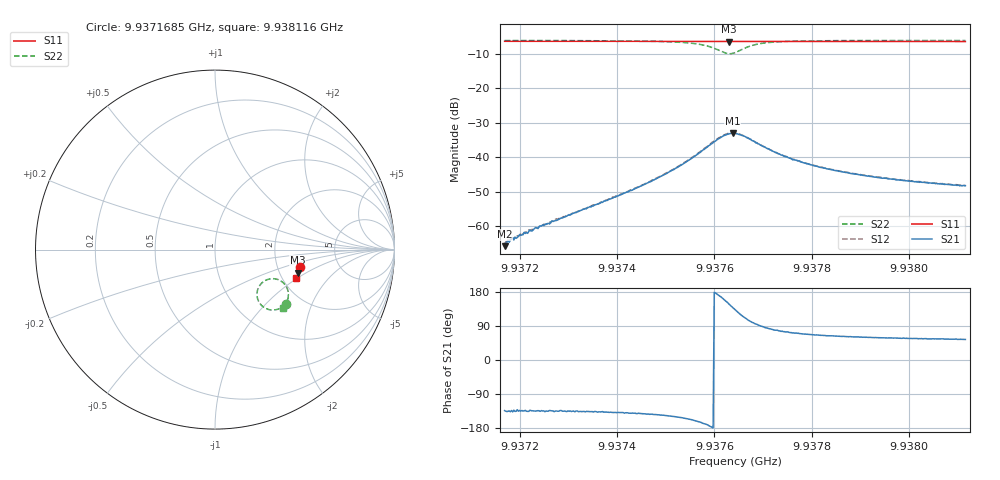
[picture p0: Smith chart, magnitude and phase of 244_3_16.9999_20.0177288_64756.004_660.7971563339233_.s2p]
#  HZ  S  RI  R  50.00
! Rohde & Schwarz Vector Network Analyzer
! Rohde-Schwarz,ZNB20-2Port,1311601062101988,3.16
! Created: UTC 3/20/2024, 11:03:01 PM
! freq[Hz]  re:S11  im:S11  re:S21  im:S21  re:S12  im:S12  re:S22  im:S22
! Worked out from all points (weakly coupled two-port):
!   401 points, 9.9371685 GHz to 9.938116 GHz, reference 50 ohm
!   highest |S21| = -32.97 dB at 9.9376375 GHz (marker M1); lowest = -65.8 dB at 9.9371685 GHz (marker M2)
!   lowest |S11| = -6.4 dB at 9.9376304 GHz (marker M3), VSWR 2.84, Z = 126 - j41.8 ohm
!   |S11| at or under -10 dB: nowhere
!   |S22| runs from -9.9 to -6.1 dB; largest |S21 - S12| = 0.00091
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9.93716852e9  0.4739 -0.0982  -0.000355 -0.000373  -0.000396 -0.000386  0.3957 -0.3016
9.93718036e9  0.4737 -0.099  -0.000458 -0.000434  -0.000487 -0.000434  0.3948 -0.3025
9.93719221e9  0.4735 -0.0999  -0.000475 -0.000471  -0.000498 -0.000501  0.3938 -0.3034
9.93720405e9  0.4733 -0.1006  -0.000516 -0.000549  -0.000535 -0.000523  0.393 -0.3042
9.93727037e9  0.472 -0.1052  -0.000864 -0.000824  -0.000831 -0.000862  0.3871 -0.3097
9.93732722e9  0.4707 -0.109  -0.00125 -0.00119  -0.00128 -0.00118  0.3809 -0.3149
9.9374267e9  0.4687 -0.1156  -0.00254 -0.00211  -0.00259 -0.00215  0.365 -0.3253
9.93748591e9  0.4672 -0.1197  -0.00421 -0.00297  -0.00432 -0.00291  0.3475 -0.3329
9.93753328e9  0.4661 -0.1231  -0.00697 -0.00364  -0.00715 -0.00359  0.3221 -0.3366
9.93758066e9  0.4642 -0.1261  -0.0131 -0.00259  -0.0135 -0.00233  0.272 -0.3214
9.93761145e9  0.4628 -0.1276  -0.0188 0.00394  -0.019 0.00451  0.2347 -0.262
9.9376304e9  0.4621 -0.1278  -0.0184 0.012  -0.0185 0.0128  0.2498 -0.1992
9.9376375e9  0.4621 -0.1278  -0.0168 0.0149  -0.0166 0.0155  0.2682 -0.1799
9.93764224e9  0.462 -0.128  -0.0152 0.0163  -0.0147 0.017  0.283 -0.1707
9.93765408e9  0.4626 -0.1284  -0.0104 0.0185  -0.00985 0.019  0.3229 -0.1619
9.93767066e9  0.4626 -0.1294  -0.00465 0.0183  -0.00411 0.0184  0.3668 -0.1746
9.93769909e9  0.4628 -0.1314  0.00046 0.0145  0.000955 0.0145  0.4006 -0.2123
9.93775593e9  0.4619 -0.1358  0.00294 0.00922  0.00295 0.00926  0.4085 -0.2599
9.93780094e9  0.4611 -0.1391  0.00302 0.00708  0.00316 0.00712  0.4046 -0.2789
9.93788147e9  0.4589 -0.1444  0.0028 0.00511  0.00296 0.00514  0.3961 -0.2978
9.93795963e9  0.457 -0.1496  0.00257 0.00416  0.00266 0.00414  0.3891 -0.3089
9.93811596e9  0.4529 -0.1597  0.00227 0.00315  0.00234 0.00315  0.3774 -0.3238
